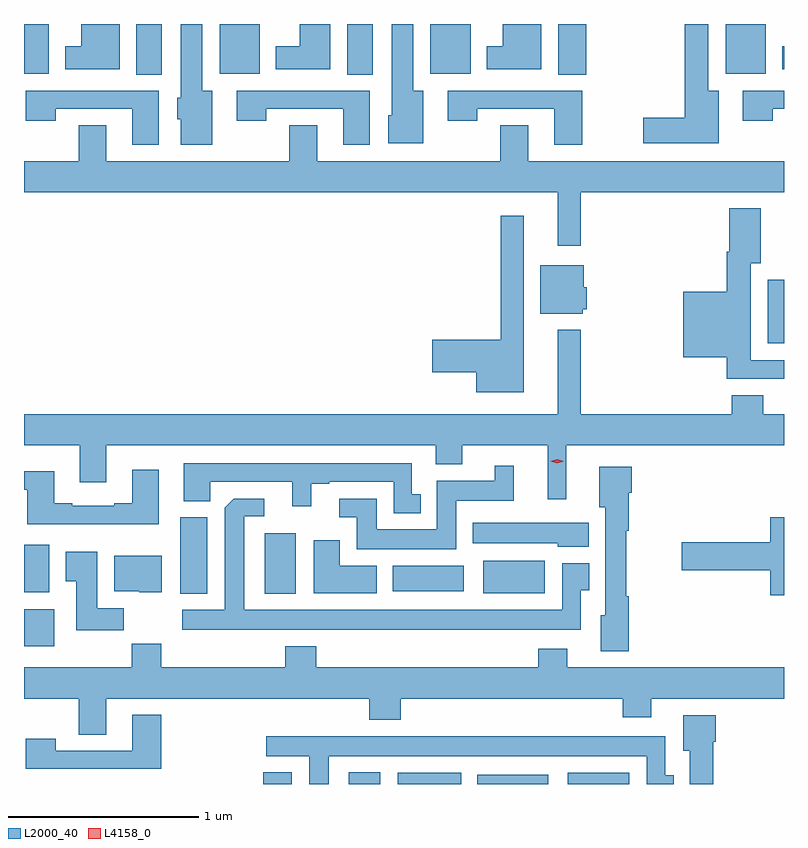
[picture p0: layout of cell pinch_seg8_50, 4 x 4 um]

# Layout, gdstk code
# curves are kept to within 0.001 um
import gdstk
lib = gdstk.Library(unit=1e-6, precision=1e-09)
def R(c, l, rs):  # rectangles x0, y0, x1, y1
    for r in rs: c.add(gdstk.rectangle(r[:2], r[2:], *l))
def P(c, l, *ps):  # polygons
    for p in ps: c.add(gdstk.Polygon(p, *l))
L2000_40 = (2000, 40)
L4158_0 = (4158, 0)

pinch_seg8_50 = lib.new_cell('pinch_seg8_50')
R(pinch_seg8_50, L2000_40, [(886.408,1157.342,886.558,1157.404), (886.859,1157.342,887.023,1157.404), (887.117,1157.342,887.449,1157.401), (887.534,1157.342,887.908,1157.392), (888.011,1157.342,888.334,1157.401), (885.149,1158.068,885.307,1158.262), (885.971,1158.344,886.114,1158.745), (886.415,1158.344,886.579,1158.661), (887.567,1158.347,887.89,1158.517), (885.149,1158.35,885.283,1158.6), (887.09,1158.356,887.464,1158.49), (889.064,1159.661,889.149,1159.996), (885.74,1161.076,885.874,1161.342), (886.85,1161.076,886.984,1161.342), (887.96,1161.076,888.107,1161.342), (885.149,1161.08,885.28,1161.342), (886.178,1161.08,886.39,1161.342), (887.288,1161.08,887.5,1161.342), (888.842,1161.08,889.054,1161.342), (889.139,1161.104,889.149,1161.226)])
P(pinch_seg8_50, L2000_40, [(887.251,1160.992),(887.197,1160.992),(887.197,1161.342),(887.084,1161.342),(887.084,1160.862),(887.066,1160.862),(887.066,1160.714),(887.251,1160.714)],
  [(886.141,1160.992),(886.087,1160.992),(886.087,1161.342),(885.974,1161.342),(885.974,1160.955),(885.956,1160.955),(885.956,1160.841),(885.974,1160.841),(885.974,1160.706),(886.141,1160.706)],
  [(885.652,1161.342),(885.449,1161.342),(885.449,1161.226),(885.365,1161.226),(885.365,1161.104),(885.652,1161.104)],
  [(887.872,1161.342),(887.669,1161.342),(887.669,1161.226),(887.585,1161.226),(887.585,1161.104),(887.872,1161.104)],
  [(886.762,1161.342),(886.601,1161.342),(886.601,1161.226),(886.475,1161.226),(886.475,1161.104),(886.762,1161.104)],
  [(888.805,1160.992),(888.751,1160.992),(888.751,1161.342),(888.626,1161.342),(888.626,1160.849),(888.408,1160.849),(888.408,1160.714),(888.805,1160.714)],
  [(889.089,1160.895),(889.149,1160.895),(889.149,1160.991),(888.933,1160.991),(888.933,1160.832),(889.089,1160.832)],
  [(888.087,1160.991),(887.379,1160.991),(887.379,1160.832),(887.535,1160.832),(887.535,1160.895),(887.939,1160.895),(887.939,1160.706),(888.087,1160.706)],
  [(886.969,1160.991),(886.269,1160.991),(886.269,1160.832),(886.425,1160.832),(886.425,1160.895),(886.829,1160.895),(886.829,1160.706),(886.969,1160.706)],
  [(885.859,1160.991),(885.159,1160.991),(885.159,1160.832),(885.315,1160.832),(885.315,1160.895),(885.719,1160.895),(885.719,1160.706),(885.859,1160.706)],
  [(888.079,1160.456),(889.149,1160.456),(889.149,1160.62),(887.803,1160.62),(887.803,1160.81),(887.656,1160.81),(887.656,1160.62),(886.693,1160.62),(886.693,1160.81),(886.546,1160.81),(886.546,1160.62),(885.583,1160.62),(885.583,1160.81),(885.436,1160.81),(885.436,1160.62),(885.149,1160.62),(885.149,1160.456),(887.957,1160.456),(887.957,1160.175),(888.079,1160.175)],
  [(889.149,1159.572),(888.973,1159.572),(888.973,1160.084),(889.027,1160.084),(889.027,1160.371),(888.86,1160.371),(888.86,1160.144),(888.848,1160.144),(888.848,1159.933),(888.62,1159.933),(888.62,1159.589),(888.848,1159.589),(888.848,1159.475),(889.149,1159.475)],
  [(887.779,1160.332),(887.658,1160.332),(887.658,1159.679),(887.298,1159.679),(887.298,1159.508),(887.528,1159.508),(887.528,1159.403),(887.779,1159.403)],
  [(888.09,1159.842),(888.112,1159.842),(888.112,1159.956),(888.094,1159.956),(888.094,1160.071),(887.867,1160.071),(887.867,1159.817),(888.09,1159.817)],
  [(888.004,1159.124),(889.149,1159.124),(889.149,1159.288),(889.04,1159.288),(889.04,1159.387),(888.875,1159.387),(888.875,1159.288),(888.079,1159.288),(888.079,1159.732),(887.957,1159.732),(887.957,1159.288),(885.149,1159.288),(885.149,1159.124),(885.443,1159.124),(885.443,1158.93),(885.583,1158.93),(885.583,1159.124),(887.315,1159.124),(887.315,1159.025),(887.455,1159.025),(887.455,1159.124),(887.906,1159.124),(887.906,1158.84),(888.004,1158.84)],
  [(887.236,1158.867),(887.19,1158.867),(887.19,1159.029),(885.989,1159.029),(885.989,1158.83),(886.128,1158.83),(886.128,1158.933),(886.562,1158.933),(886.562,1158.804),(886.66,1158.804),(886.66,1158.921),(886.756,1158.921),(886.756,1158.933),(887.094,1158.933),(887.094,1158.767),(887.236,1158.767)],
  [(887.425,1158.833),(887.726,1158.833),(887.726,1159.018),(887.627,1159.018),(887.627,1158.937),(887.321,1158.937),(887.321,1158.682),(887.005,1158.682),(887.005,1158.843),(886.809,1158.843),(886.809,1158.747),(886.901,1158.747),(886.901,1158.578),(887.425,1158.578)],
  [(888.332,1158.331),(888.319,1158.331),(888.319,1158.676),(888.332,1158.676),(888.332,1158.876),(888.347,1158.876),(888.347,1159.012),(888.176,1159.012),(888.176,1158.798),(888.209,1158.798),(888.209,1158.231),(888.185,1158.231),(888.185,1158.041),(888.332,1158.041)],
  [(885.859,1158.997),(885.719,1158.997),(885.719,1158.82),(885.623,1158.82),(885.623,1158.807),(885.403,1158.807),(885.403,1158.82),(885.307,1158.82),(885.307,1158.988),(885.149,1158.988),(885.149,1158.891),(885.167,1158.891),(885.167,1158.71),(885.859,1158.71)],
  [(888.079,1158.361),(888.124,1158.361),(888.124,1158.505),(887.982,1158.505),(887.982,1158.259),(886.309,1158.259),(886.309,1158.75),(886.414,1158.75),(886.414,1158.843),(886.252,1158.843),(886.206,1158.797),(886.205,1158.259),(885.981,1158.259),(885.981,1158.155),(888.079,1158.155)],
  [(889.149,1158.745),(889.076,1158.745),(889.076,1158.614),(888.612,1158.614),(888.612,1158.467),(889.076,1158.467),(889.076,1158.335),(889.149,1158.335)],
  [(888.121,1158.718),(887.51,1158.718),(887.51,1158.608),(887.958,1158.608),(887.958,1158.59),(888.121,1158.59)],
  [(887.005,1158.49),(886.81,1158.49),(886.81,1158.625),(886.673,1158.625),(886.673,1158.347),(887.005,1158.347)],
  [(885.674,1158.268),(885.535,1158.268),(885.535,1158.565),(885.368,1158.565),(885.368,1158.409),(885.425,1158.409),(885.425,1158.15),(885.674,1158.15)],
  [(885.874,1158.544),(885.623,1158.544),(885.623,1158.356),(885.756,1158.356),(885.756,1158.35),(885.874,1158.35)],
  [(887.855,1158.055),(887.855,1157.956),(886.688,1157.956),(886.688,1158.067),(886.523,1158.067),(886.523,1157.956),(885.872,1157.956),(885.872,1158.08),(885.715,1158.08),(885.715,1157.956),(885.149,1157.956),(885.149,1157.792),(885.436,1157.792),(885.436,1157.602),(885.583,1157.602),(885.583,1157.792),(886.967,1157.792),(886.967,1157.681),(887.132,1157.681),(887.132,1157.792),(888.299,1157.792),(888.299,1157.693),(888.451,1157.693),(888.451,1157.792),(889.149,1157.792),(889.149,1157.956),(888.007,1157.956),(888.007,1158.055)],
  [(885.872,1157.707),(885.719,1157.707),(885.719,1157.517),(885.315,1157.517),(885.315,1157.581),(885.159,1157.581),(885.159,1157.421),(885.872,1157.421)],
  [(888.776,1157.565),(888.791,1157.565),(888.791,1157.704),(888.62,1157.704),(888.62,1157.517),(888.653,1157.517),(888.653,1157.342),(888.776,1157.342)],
  [(886.753,1157.489),(888.426,1157.489),(888.426,1157.342),(888.568,1157.342),(888.568,1157.388),(888.523,1157.388),(888.523,1157.593),(886.425,1157.593),(886.425,1157.489),(886.649,1157.489),(886.649,1157.342),(886.753,1157.342)])
P(pinch_seg8_50, L4158_0, [(887.955,1159.03),(887.919,1159.04),(887.918,1159.04),(887.919,1159.041),(887.955,1159.05),(887.991,1159.041),(887.991,1159.04),(887.991,1159.04)])

lib.write_gds('pinch_seg8_50.gds')
